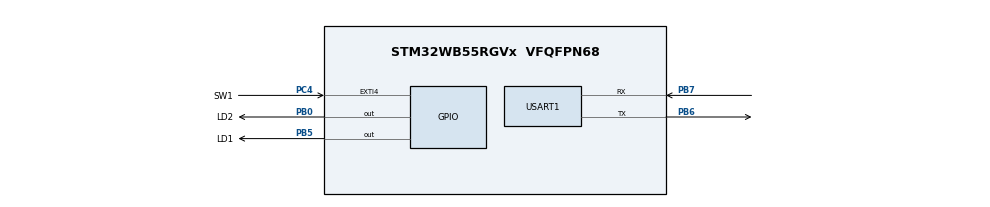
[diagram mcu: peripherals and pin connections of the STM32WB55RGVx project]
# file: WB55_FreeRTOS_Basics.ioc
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FREERTOS.BinarySemaphores01=ButtonSemaphore,Dynamic,NULL,Depleted;UartSemaphore,Dynamic,NULL,Available;ResourceSemaphore,Dynamic,NULL,Available
FREERTOS.Events01=SystemEvents,Dynamic,NULL
FREERTOS.Mutexes01=ResourceMutex,Dynamic,NULL,Available
FREERTOS.Queues01=ButtonQueue,4,uint32_t,0,Dynamic,NULL,NULL
FREERTOS.Tasks01=BlueLedTask,24,128,StartDefaultTask,Default,NULL,Dynamic,NULL,NULL;GreenLedTask,24,128,StartGreenLedTask,Default,NULL,Dynamic,NULL,NULL;ButtonTask,24,128,StartButtonTask,Default,NULL,Dynamic,NULL,NULL;UartTask,24,128,StartUartTask,Default,NULL,Dynamic,NULL,NULL;LowTask,16,128,StartTask05,Default,NULL,Dynamic,NULL,NULL;MediumTask,24,128,StartTask06,Default,NULL,Dynamic,NULL,NULL;HighTask,32,128,StartTask07,Default,NULL,Dynamic,NULL,NULL;MonitorTask,8,512,StartMonitorTask,Default,NULL,Dynamic,NULL,NULL
FREERTOS.Timers01=PeriodicTimer,PTCallback,osTimerPeriodic,Default,NULL,Dynamic,NULL;OneShotTimer,OSTCallback,osTimerOnce,Default,NULL,Dynamic,NULL
FREERTOS.configCHECK_FOR_STACK_OVERFLOW=2
FREERTOS.configTOTAL_HEAP_SIZE=24576
FREERTOS.configUSE_NEWLIB_REENTRANT=1
Mcu.Family=STM32WB
Mcu.Name=STM32WB55RGVx
Mcu.Package=VFQFPN68
NVIC.EXTI4_IRQn=true\:5\:0\:true\:false\:true\:false\:true\:true\:true
NVIC.PriorityGroup=NVIC_PRIORITYGROUP_4
NVIC.TIM1_TRG_COM_TIM17_IRQn=true\:15\:0\:false\:false\:true\:false\:false\:true\:true
NVIC.TimeBase=TIM1_TRG_COM_TIM17_IRQn
NVIC.TimeBaseIP=TIM17
PA13.Mode=Serial_Wire
PA13.Signal=SYS_JTMS-SWDIO
PA14.Mode=Serial_Wire
PA14.Signal=SYS_JTCK-SWCLK
PB0.GPIO_Label=LD2
PB0.Signal=GPIO_Output
PB5.GPIO_Label=LD1
PB5.Signal=GPIO_Output
PB6.Mode=Asynchronous
PB6.Signal=USART1_TX
PB7.Mode=Asynchronous
PB7.Signal=USART1_RX
PC4.GPIO_Label=SW1
PC4.GPIO_ModeDefaultEXTI=GPIO_MODE_IT_FALLING
PC4.GPIO_PuPd=GPIO_PULLUP
PC4.Signal=GPXTI4
ProjectManager.HeapSize=0x200
ProjectManager.StackSize=0x400
ProjectManager.TargetToolchain=STM32CubeIDE
RCC.APB3Freq_Value=16000000
RCC.HSE_VALUE=8000000
RCC.HSI48_VALUE=48000000
RCC.HSI_VALUE=16000000
RCC.LSE_VALUE=32768
RCC.VCOOutputFreq_Value=32000000
USART1.VirtualMode-Asynchronous=VM_ASYNC
VP_FREERTOS_VS_CMSIS_V2.Mode=CMSIS_V2
VP_MEMORYMAP_VS_MEMORYMAP.Mode=CurAppReg
VP_SYS_VS_tim17.Mode=TIM17
board=custom

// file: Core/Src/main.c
/* USER CODE BEGIN Header */

/**

  ******************************************************************************

  * @file           : main.c

  * @brief          : Main program body

  ******************************************************************************

  * @attention

  *

  * Copyright (c) 2026 STMicroelectronics.

  * All rights reserved.

  *

  * This software is licensed under terms that can be found in the LICENSE file

  * in the root directory of this software component.

  * If no LICENSE file comes with this software, it is provided AS-IS.

  *

  ******************************************************************************

  */

/* USER CODE END Header */
#include "main.h"
#include "cmsis_os2.h"
#include "FreeRTOS.h"

/* USER CODE BEGIN Includes */

#include <string.h>

#include <stdio.h>

/* USER CODE END Includes */

/* USER CODE BEGIN PD */

#define BLUE_LED_SLOW_PERIOD_MS     500U

#define BLUE_LED_FAST_PERIOD_MS     100U

#define GREEN_LED_PERIOD_MS        1000U

#define BLUE_EVENT_FLAG            (1U << 0)

#define GREEN_EVENT_FLAG           (1U << 1)

#define LED_EVENTS_MASK            (BLUE_EVENT_FLAG | GREEN_EVENT_FLAG)

#define PERIODIC_TIMER_PERIOD_MS    1000U

#define ONE_SHOT_TIMER_PERIOD_MS    5000U

/* USER CODE END PD */

UART_HandleTypeDef huart1;

/* Definitions for BlueLedTask */
osThreadId_t BlueLedTaskHandle;
const osThreadAttr_t BlueLedTask_attributes = {
  .name = "BlueLedTask",
  .priority = (osPriority_t) osPriorityNormal,
  .stack_size = 128 * 4
};
/* Definitions for GreenLedTask */
osThreadId_t GreenLedTaskHandle;
const osThreadAttr_t GreenLedTask_attributes = {
  .name = "GreenLedTask",
  .priority = (osPriority_t) osPriorityNormal,
  .stack_size = 128 * 4
};
/* Definitions for ButtonTask */
osThreadId_t ButtonTaskHandle;
const osThreadAttr_t ButtonTask_attributes = {
  .name = "ButtonTask",
  .priority = (osPriority_t) osPriorityNormal,
  .stack_size = 128 * 4
};
/* Definitions for UartTask */
osThreadId_t UartTaskHandle;
const osThreadAttr_t UartTask_attributes = {
  .name = "UartTask",
  .priority = (osPriority_t) osPriorityNormal,
  .stack_size = 128 * 4
};
/* Definitions for LowTask */
osThreadId_t LowTaskHandle;
const osThreadAttr_t LowTask_attributes = {
  .name = "LowTask",
  .priority = (osPriority_t) osPriorityBelowNormal,
  .stack_size = 128 * 4
};
/* Definitions for MediumTask */
osThreadId_t MediumTaskHandle;
const osThreadAttr_t MediumTask_attributes = {
  .name = "MediumTask",
  .priority = (osPriority_t) osPriorityNormal,
  .stack_size = 128 * 4
};
/* Definitions for HighTask */
osThreadId_t HighTaskHandle;
const osThreadAttr_t HighTask_attributes = {
  .name = "HighTask",
  .priority = (osPriority_t) osPriorityAboveNormal,
  .stack_size = 128 * 4
};
/* Definitions for MonitorTask */
osThreadId_t MonitorTaskHandle;
const osThreadAttr_t MonitorTask_attributes = {
  .name = "MonitorTask",
  .priority = (osPriority_t) osPriorityLow,
  .stack_size = 512 * 4
};
/* Definitions for ButtonQueue */
osMessageQueueId_t ButtonQueueHandle;
const osMessageQueueAttr_t ButtonQueue_attributes = {
  .name = "ButtonQueue"
};
/* Definitions for PeriodicTimer */
osTimerId_t PeriodicTimerHandle;
const osTimerAttr_t PeriodicTimer_attributes = {
  .name = "PeriodicTimer"
};
/* Definitions for OneShotTimer */
osTimerId_t OneShotTimerHandle;
const osTimerAttr_t OneShotTimer_attributes = {
  .name = "OneShotTimer"
};
/* Definitions for ResourceMutex */
osMutexId_t ResourceMutexHandle;
const osMutexAttr_t ResourceMutex_attributes = {
  .name = "ResourceMutex"
};
/* Definitions for ButtonSemaphore */
osSemaphoreId_t ButtonSemaphoreHandle;
const osSemaphoreAttr_t ButtonSemaphore_attributes = {
  .name = "ButtonSemaphore"
};
/* Definitions for UartSemaphore */
osSemaphoreId_t UartSemaphoreHandle;
const osSemaphoreAttr_t UartSemaphore_attributes = {
  .name = "UartSemaphore"
};
/* Definitions for ResourceSemaphore */
osSemaphoreId_t ResourceSemaphoreHandle;
const osSemaphoreAttr_t ResourceSemaphore_attributes = {
  .name = "ResourceSemaphore"
};
/* Definitions for SystemEvents */
osEventFlagsId_t SystemEventsHandle;
const osEventFlagsAttr_t SystemEvents_attributes = {
  .name = "SystemEvents"
};
/* USER CODE BEGIN PV */

static volatile uint8_t demoLowHasResource = 0U;

static volatile uint8_t demoHighWaiting = 0U;

/* USER CODE END PV */

void SystemClock_Config(void);
void PeriphCommonClock_Config(void);
static void MX_GPIO_Init(void);
static void MX_USART1_UART_Init(void);
void StartDefaultTask(void *argument);
void StartGreenLedTask(void *argument);
void StartButtonTask(void *argument);
void StartUartTask(void *argument);
void StartTask05(void *argument);
void StartTask06(void *argument);
void StartTask07(void *argument);
void StartMonitorTask(void *argument);
void PTCallback(void *argument);
void OSTCallback(void *argument);

/* USER CODE BEGIN PFP */

static void UART_Log(const char *message);

static void UART_LogStackInfo(const char *taskName,
                              osThreadId_t taskHandle,
                              uint32_t totalStackBytes);

/* USER CODE END PFP */

/* USER CODE BEGIN 0 */

static void UART_Log(const char *message)
{
  if (osSemaphoreAcquire(UartSemaphoreHandle, osWaitForever) == osOK)
  {
    HAL_UART_Transmit(
        &huart1,
        (uint8_t *)message,
        (uint16_t)strlen(message),
        1000U
    );

    (void)osSemaphoreRelease(UartSemaphoreHandle);
  }
}

static void UART_LogStackInfo(const char *taskName,
                              osThreadId_t taskHandle,
                              uint32_t totalStackBytes)
{
  char line[128];
  uint32_t minFreeBytes;
  uint32_t maxUsedBytes;

  /*
   * Bir task'in simdiye kadar gordugu minimum bos stack miktarini
   * byte cinsinden al.
   */
  minFreeBytes = osThreadGetStackSpace(taskHandle);

  if (minFreeBytes <= totalStackBytes)
  {
    maxUsedBytes = totalStackBytes - minFreeBytes;
  }
  else
  {
    maxUsedBytes = 0U;
  }

  (void)snprintf(
      line,
      sizeof(line),
      "%-12s total=%4lu B | min free=%4lu B | max used~=%4lu B\r\n",
      taskName,
      (unsigned long)totalStackBytes,
      (unsigned long)minFreeBytes,
      (unsigned long)maxUsedBytes
  );

  UART_Log(line);
}

/* USER CODE END 0 */

int main(void)
{

  /* MCU Configuration--------------------------------------------------------*/

  /* Reset of all peripherals, Initializes the Flash interface and the Systick. */
  HAL_Init();

  /* Configure the system clock */
  SystemClock_Config();

  /* Configure the peripherals common clocks */
  PeriphCommonClock_Config();

  /* Initialize all configured peripherals */
  MX_GPIO_Init();
  MX_USART1_UART_Init();
  /* USER CODE BEGIN 2 */

  /*

   * Both LEDs start OFF.

   * CubeMX already initializes them LOW,

   * but keeping the intended initial state clear is useful.

   */

  HAL_GPIO_WritePin(LD1_GPIO_Port, LD1_Pin, GPIO_PIN_RESET);

  HAL_GPIO_WritePin(LD2_GPIO_Port, LD2_Pin, GPIO_PIN_RESET);

  /* USER CODE END 2 */

  /* Init scheduler */
  osKernelInitialize();
  /* Create the mutex(es) */
  /* creation of ResourceMutex */
  ResourceMutexHandle = osMutexNew(&ResourceMutex_attributes);

  /* Create the semaphores(s) */
  /* creation of ButtonSemaphore */
  ButtonSemaphoreHandle = osSemaphoreNew(1, 0, &ButtonSemaphore_attributes);

  /* creation of UartSemaphore */
  UartSemaphoreHandle = osSemaphoreNew(1, 1, &UartSemaphore_attributes);

  /* creation of ResourceSemaphore */
  ResourceSemaphoreHandle = osSemaphoreNew(1, 1, &ResourceSemaphore_attributes);

  /* Create the timer(s) */
  /* creation of PeriodicTimer */
  PeriodicTimerHandle = osTimerNew(PTCallback, osTimerPeriodic, NULL, &PeriodicTimer_attributes);

  /* creation of OneShotTimer */
  OneShotTimerHandle = osTimerNew(OSTCallback, osTimerOnce, NULL, &OneShotTimer_attributes);

  /* Create the queue(s) */
  /* creation of ButtonQueue */
  ButtonQueueHandle = osMessageQueueNew (4, sizeof(uint32_t), &ButtonQueue_attributes);

  /* Create the thread(s) */
  /* creation of BlueLedTask */
  BlueLedTaskHandle = osThreadNew(StartDefaultTask, NULL, &BlueLedTask_attributes);

  /* creation of GreenLedTask */
  GreenLedTaskHandle = osThreadNew(StartGreenLedTask, NULL, &GreenLedTask_attributes);

  /* creation of ButtonTask */
  ButtonTaskHandle = osThreadNew(StartButtonTask, NULL, &ButtonTask_attributes);

  /* creation of UartTask */
  UartTaskHandle = osThreadNew(StartUartTask, NULL, &UartTask_attributes);

  /* creation of LowTask */
  LowTaskHandle = osThreadNew(StartTask05, NULL, &LowTask_attributes);

  /* creation of MediumTask */
  MediumTaskHandle = osThreadNew(StartTask06, NULL, &MediumTask_attributes);

  /* creation of HighTask */
  HighTaskHandle = osThreadNew(StartTask07, NULL, &HighTask_attributes);

  /* creation of MonitorTask */
  MonitorTaskHandle = osThreadNew(StartMonitorTask, NULL, &MonitorTask_attributes);

  /* creation of SystemEvents */
  SystemEventsHandle = osEventFlagsNew(&SystemEvents_attributes);

  /* Start scheduler */
  osKernelStart();

  /* We should never get here as control is now taken by the scheduler */

  /* Infinite loop */
  while (1)
  {

  }
}

void SystemClock_Config(void)
{
  RCC_OscInitTypeDef RCC_OscInitStruct = {0};
  RCC_ClkInitTypeDef RCC_ClkInitStruct = {0};

  /** Configure the main internal regulator output voltage
  */
  __HAL_PWR_VOLTAGESCALING_CONFIG(PWR_REGULATOR_VOLTAGE_SCALE1);

  /** Initializes the RCC Oscillators according to the specified parameters
  * in the RCC_OscInitTypeDef structure.
  */
  RCC_OscInitStruct.OscillatorType = RCC_OSCILLATORTYPE_HSI|RCC_OSCILLATORTYPE_MSI;
  RCC_OscInitStruct.HSIState = RCC_HSI_ON;
  RCC_OscInitStruct.MSIState = RCC_MSI_ON;
  RCC_OscInitStruct.HSICalibrationValue = RCC_HSICALIBRATION_DEFAULT;
  RCC_OscInitStruct.MSICalibrationValue = RCC_MSICALIBRATION_DEFAULT;
  RCC_OscInitStruct.MSIClockRange = RCC_MSIRANGE_6;
  RCC_OscInitStruct.PLL.PLLState = RCC_PLL_NONE;
  if (HAL_RCC_OscConfig(&RCC_OscInitStruct) != HAL_OK)
  {
    Error_Handler();
  }

  /** Configure the SYSCLKSource, HCLK, PCLK1 and PCLK2 clocks dividers
  */
  RCC_ClkInitStruct.ClockType = RCC_CLOCKTYPE_HCLK4|RCC_CLOCKTYPE_HCLK2
                              |RCC_CLOCKTYPE_HCLK|RCC_CLOCKTYPE_SYSCLK
                              |RCC_CLOCKTYPE_PCLK1|RCC_CLOCKTYPE_PCLK2;
  RCC_ClkInitStruct.SYSCLKSource = RCC_SYSCLKSOURCE_MSI;
  RCC_ClkInitStruct.AHBCLKDivider = RCC_SYSCLK_DIV1;
  RCC_ClkInitStruct.APB1CLKDivider = RCC_HCLK_DIV1;
  RCC_ClkInitStruct.APB2CLKDivider = RCC_HCLK_DIV1;
  RCC_ClkInitStruct.AHBCLK2Divider = RCC_SYSCLK_DIV1;
  RCC_ClkInitStruct.AHBCLK4Divider = RCC_SYSCLK_DIV1;

  if (HAL_RCC_ClockConfig(&RCC_ClkInitStruct, FLASH_LATENCY_0) != HAL_OK)
  {
    Error_Handler();
  }
}

void PeriphCommonClock_Config(void)
{
  RCC_PeriphCLKInitTypeDef PeriphClkInitStruct = {0};

  /** Initializes the peripherals clock
  */
  PeriphClkInitStruct.PeriphClockSelection = RCC_PERIPHCLK_SMPS;
  PeriphClkInitStruct.SmpsClockSelection = RCC_SMPSCLKSOURCE_HSI;
  PeriphClkInitStruct.SmpsDivSelection = RCC_SMPSCLKDIV_RANGE1;

  if (HAL_RCCEx_PeriphCLKConfig(&PeriphClkInitStruct) != HAL_OK)
  {
    Error_Handler();
  }
}

static void MX_USART1_UART_Init(void)
{

  huart1.Instance = USART1;
  huart1.Init.BaudRate = 115200;
  huart1.Init.WordLength = UART_WORDLENGTH_8B;
  huart1.Init.StopBits = UART_STOPBITS_1;
  huart1.Init.Parity = UART_PARITY_NONE;
  huart1.Init.Mode = UART_MODE_TX_RX;
  huart1.Init.HwFlowCtl = UART_HWCONTROL_NONE;
  huart1.Init.OverSampling = UART_OVERSAMPLING_16;
  huart1.Init.OneBitSampling = UART_ONE_BIT_SAMPLE_DISABLE;
  huart1.Init.ClockPrescaler = UART_PRESCALER_DIV1;
  huart1.AdvancedInit.AdvFeatureInit = UART_ADVFEATURE_NO_INIT;
  if (HAL_UART_Init(&huart1) != HAL_OK)
  {
    Error_Handler();
  }
  if (HAL_UARTEx_SetTxFifoThreshold(&huart1, UART_TXFIFO_THRESHOLD_1_8) != HAL_OK)
  {
    Error_Handler();
  }
  if (HAL_UARTEx_SetRxFifoThreshold(&huart1, UART_RXFIFO_THRESHOLD_1_8) != HAL_OK)
  {
    Error_Handler();
  }
  if (HAL_UARTEx_DisableFifoMode(&huart1) != HAL_OK)
  {
    Error_Handler();
  }

}

static void MX_GPIO_Init(void)
{
  GPIO_InitTypeDef GPIO_InitStruct = {0};

  /* GPIO Ports Clock Enable */
  __HAL_RCC_GPIOC_CLK_ENABLE();
  __HAL_RCC_GPIOB_CLK_ENABLE();
  __HAL_RCC_GPIOA_CLK_ENABLE();

  /*Configure GPIO pin Output Level */
  HAL_GPIO_WritePin(GPIOB, LD2_Pin|LD1_Pin, GPIO_PIN_RESET);

  /*Configure GPIO pin : SW1_Pin */
  GPIO_InitStruct.Pin = SW1_Pin;
  GPIO_InitStruct.Mode = GPIO_MODE_IT_FALLING;
  GPIO_InitStruct.Pull = GPIO_PULLUP;
  HAL_GPIO_Init(SW1_GPIO_Port, &GPIO_InitStruct);

  /*Configure GPIO pins : LD2_Pin LD1_Pin */
  GPIO_InitStruct.Pin = LD2_Pin|LD1_Pin;
  GPIO_InitStruct.Mode = GPIO_MODE_OUTPUT_PP;
  GPIO_InitStruct.Pull = GPIO_NOPULL;
  GPIO_InitStruct.Speed = GPIO_SPEED_FREQ_LOW;
  HAL_GPIO_Init(GPIOB, &GPIO_InitStruct);

  /* EXTI interrupt init*/
  HAL_NVIC_SetPriority(EXTI4_IRQn, 5, 0);
  HAL_NVIC_EnableIRQ(EXTI4_IRQn);

}

/* USER CODE BEGIN 4 */

void HAL_GPIO_EXTI_Callback(uint16_t GPIO_Pin)

{

  if (GPIO_Pin == SW1_Pin)

  {

    if (ButtonSemaphoreHandle != NULL)

    {

      (void)osSemaphoreRelease(ButtonSemaphoreHandle);

    }

  }

}

/* USER CODE END 4 */

void StartDefaultTask(void *argument)
{
  /* USER CODE BEGIN 5 */

  uint32_t blinkPeriod = BLUE_LED_SLOW_PERIOD_MS;

  uint32_t newPeriod = BLUE_LED_SLOW_PERIOD_MS;

  for (;;)

  {

    while (osMessageQueueGet(

               ButtonQueueHandle,

               &newPeriod,

               NULL,

               0U) == osOK)

    {

      if ((newPeriod == BLUE_LED_FAST_PERIOD_MS) ||

          (newPeriod == BLUE_LED_SLOW_PERIOD_MS))

      {

        blinkPeriod = newPeriod;

      }

    }

    HAL_GPIO_TogglePin(

        LD1_GPIO_Port,

        LD1_Pin

    );

    (void)osEventFlagsSet(

        SystemEventsHandle,

        BLUE_EVENT_FLAG

    );

    osDelay(blinkPeriod);

  }

  /* USER CODE END 5 */
}

void StartGreenLedTask(void *argument)
{
  /* USER CODE BEGIN StartGreenLedTask */

  for (;;)

  {

    HAL_GPIO_TogglePin(

        LD2_GPIO_Port,

        LD2_Pin

    );

    (void)osEventFlagsSet(

        SystemEventsHandle,

        GREEN_EVENT_FLAG

    );

    osDelay(GREEN_LED_PERIOD_MS);

  }

  /* USER CODE END StartGreenLedTask */
}

void StartButtonTask(void *argument)
{
  /* USER CODE BEGIN StartButtonTask */

  uint8_t fastMode = 0U;
  uint32_t newPeriod;
  uint32_t i;

  /*
   * STACK MANAGEMENT DEMO
   *
   * 100 byte'lik yerel dizi dogrudan ButtonTask'in stack frame'i
   * icinde tutuluyor. volatile kullanarak derleyicinin diziyi
   * optimize edip kaldirmasini engelliyoruz.
   */
  volatile uint8_t stackDemoBuffer[100];

  /*
   * High-water-mark mekanizmasinin bu bolgeyi gercekten kullanilmis
   * olarak gorebilmesi icin dizinin tamamini bir kez yaziyoruz.
   */
  for (i = 0U; i < sizeof(stackDemoBuffer); i++)
  {
    stackDemoBuffer[i] = (uint8_t)i;
  }

  for (;;)
  {
    if (osSemaphoreAcquire(
            ButtonSemaphoreHandle,
            osWaitForever) == osOK)
    {
      osDelay(50);

      if (HAL_GPIO_ReadPin(
              SW1_GPIO_Port,
              SW1_Pin) == GPIO_PIN_RESET)
      {
        fastMode ^= 1U;

        if (fastMode != 0U)
        {
          newPeriod = BLUE_LED_FAST_PERIOD_MS;
        }
        else
        {
          newPeriod = BLUE_LED_SLOW_PERIOD_MS;
        }

        (void)osMessageQueuePut(
            ButtonQueueHandle,
            &newPeriod,
            0U,
            0U
        );

        UART_Log("[BUTTON] SW1 pressed -> Blue LED speed changed.\r\n");

        while (HAL_GPIO_ReadPin(
                   SW1_GPIO_Port,
                   SW1_Pin) == GPIO_PIN_RESET)
        {
          osDelay(10);
        }

        osDelay(20);

        while (osSemaphoreAcquire(
                   ButtonSemaphoreHandle,
                   0U) == osOK)
        {
          /* Drain bounce events. */
        }
      }
    }
  }

  /* USER CODE END StartButtonTask */
}

void StartUartTask(void *argument)
{
  /* USER CODE BEGIN StartUartTask */

  /*
   * Stack Management deneyinde terminali MonitorTask kullanacak.
   * UartTask mevcut kalir fakat pasif bekler.
   */
  for (;;)
  {
    osDelay(1000);
  }

  /* USER CODE END StartUartTask */
}

void StartTask05(void *argument)
{
  /* USER CODE BEGIN StartTask05 */

  /* LowTask: not used in the Event Flags demo. */

  osThreadExit();

  /* USER CODE END StartTask05 */
}

void StartTask06(void *argument)
{
  /* USER CODE BEGIN StartTask06 */

  /* MediumTask: not used in the Event Flags demo. */

  osThreadExit();

  /* USER CODE END StartTask06 */
}

void StartTask07(void *argument)
{
  /* USER CODE BEGIN StartTask07 */

  /* HighTask: not used in the Event Flags demo. */

  osThreadExit();

  /* USER CODE END StartTask07 */
}

void StartMonitorTask(void *argument)
{
  /* USER CODE BEGIN StartMonitorTask */

  osDelay(1500);

  UART_Log("\r\n=== FREERTOS STACK MONITOR ===\r\n");
  UART_Log("min free = simdiye kadar gorulen EN AZ bos stack miktari\r\n");
  UART_Log("Deger ne kadar kucukse stack sinirina o kadar yaklasilmistir.\r\n\r\n");

  for (;;)
  {
    UART_Log("--------------- STACK REPORT ---------------\r\n");

    UART_LogStackInfo(
        "BlueLedTask",
        BlueLedTaskHandle,
        (uint32_t)BlueLedTask_attributes.stack_size
    );

    UART_LogStackInfo(
        "GreenLedTask",
        GreenLedTaskHandle,
        (uint32_t)GreenLedTask_attributes.stack_size
    );

    UART_LogStackInfo(
        "ButtonTask",
        ButtonTaskHandle,
        (uint32_t)ButtonTask_attributes.stack_size
    );

    UART_LogStackInfo(
        "UartTask",
        UartTaskHandle,
        (uint32_t)UartTask_attributes.stack_size
    );

    UART_LogStackInfo(
        "MonitorTask",
        MonitorTaskHandle,
        (uint32_t)MonitorTask_attributes.stack_size
    );

    UART_Log("--------------------------------------------\r\n\r\n");

    osDelay(3000);
  }

  /* USER CODE END StartMonitorTask */
}

/* PTCallback function */
void PTCallback(void *argument)
{
  /* USER CODE BEGIN PTCallback */

  /* Software Timer deneyi tamamlandi; bu adimda callback pasif. */

  /* USER CODE END PTCallback */
}

/* OSTCallback function */
void OSTCallback(void *argument)
{
  /* USER CODE BEGIN OSTCallback */

  /* Software Timer deneyi tamamlandi; bu adimda callback pasif. */

  /* USER CODE END OSTCallback */
}

void HAL_TIM_PeriodElapsedCallback(TIM_HandleTypeDef *htim)
{
  if (htim->Instance == TIM17)
  {
    HAL_IncTick();
  }
}

void Error_Handler(void)
{
  __disable_irq();
  while (1)
  {
  }
}
#ifdef USE_FULL_ASSERT
/**
  * @brief  Reports the name of the source file and the source line number
  *         where the assert_param error has occurred.
  * @param  file: pointer to the source file name
  * @param  line: assert_param error line source number
  * @retval None
  */
void assert_failed(uint8_t *file, uint32_t line)
{
  /* USER CODE BEGIN 6 */

  /*

   * User can add his own implementation here.

   */

  /* USER CODE END 6 */
}
#endif /* USE_FULL_ASSERT */

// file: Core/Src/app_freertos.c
/* USER CODE BEGIN Header */
/**
  ******************************************************************************
  * File Name          : app_freertos.c
  * Description        : Code for freertos applications
  ******************************************************************************
  * @attention
  *
  * Copyright (c) 2026 STMicroelectronics.
  * All rights reserved.
  *
  * This software is licensed under terms that can be found in the LICENSE file
  * in the root directory of this software component.
  * If no LICENSE file comes with this software, it is provided AS-IS.
  *
  ******************************************************************************
  */
/* USER CODE END Header */

#include "FreeRTOS.h"
#include "task.h"
#include "main.h"

/* USER CODE BEGIN Includes */
#include <string.h>
/* USER CODE END Includes */

/* USER CODE BEGIN Variables */
extern UART_HandleTypeDef huart1;
/* USER CODE END Variables */

/* Hook prototypes */
void vApplicationStackOverflowHook(TaskHandle_t xTask, char *pcTaskName);

/* USER CODE BEGIN 4 */
void vApplicationStackOverflowHook(TaskHandle_t xTask, char *pcTaskName)
{
  static const char prefix[] =
      "\r\n*** FREERTOS STACK OVERFLOW DETECTED ***\r\nTask: ";
  static const char suffix[] =
      "\r\nSystem halted for debugging.\r\n";

  (void)xTask;

  /*
   * Bu hook sadece Stack Overflow deneyi icin kullanilir.
   * RTOS servisleri burada kullanilmiyor; cunku overflow aninda
   * ilgili task'in stack'i guvenilir kabul edilmez.
   */
  __disable_irq();

  HAL_UART_Transmit(
      &huart1,
      (uint8_t *)prefix,
      (uint16_t)(sizeof(prefix) - 1U),
      100U
  );

  if (pcTaskName != NULL)
  {
    HAL_UART_Transmit(
        &huart1,
        (uint8_t *)pcTaskName,
        (uint16_t)strlen(pcTaskName),
        100U
    );
  }

  HAL_UART_Transmit(
      &huart1,
      (uint8_t *)suffix,
      (uint16_t)(sizeof(suffix) - 1U),
      100U
  );

  /*
   * Overflow sonrasinda devam etmek yerine burada dur.
   * Debugger ile sistem bu noktada incelenebilir.
   */
  while (1)
  {
  }
}
/* USER CODE END 4 */
